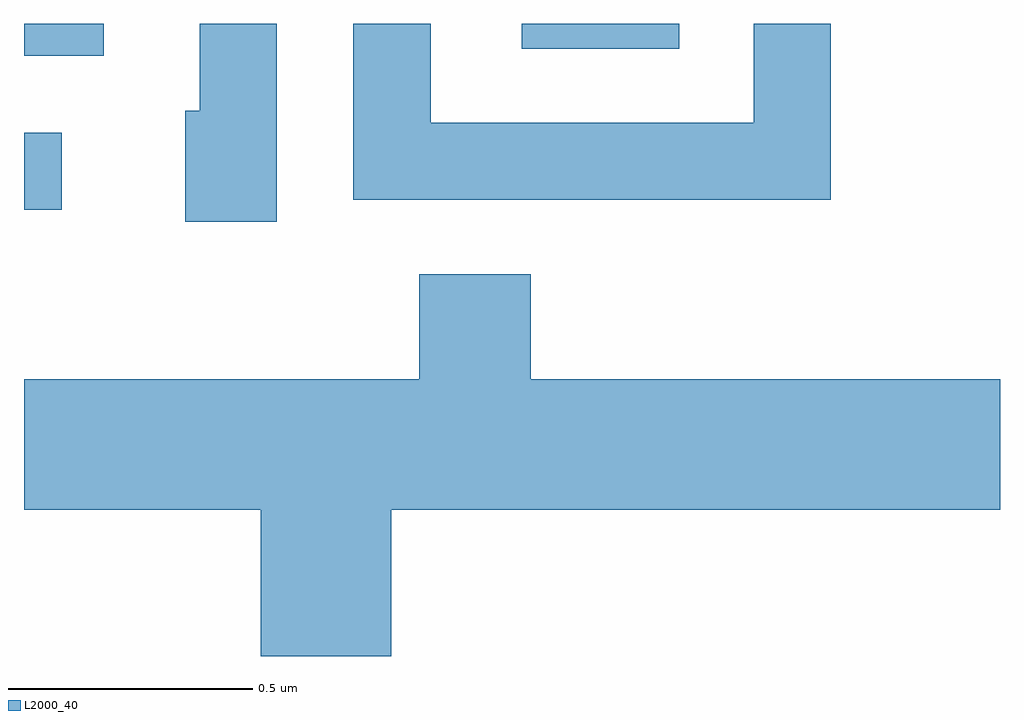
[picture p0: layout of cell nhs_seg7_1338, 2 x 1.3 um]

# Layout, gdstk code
import gdstk
lib = gdstk.Library(unit=1e-6, precision=1e-09)
def R(c, l, rs):  # rectangles x0, y0, x1, y1
    for r in rs: c.add(gdstk.rectangle(r[:2], r[2:], *l))
def P(c, l, *ps):  # polygons
    for p in ps: c.add(gdstk.Polygon(p, *l))
L2000_40 = (2000, 40)

nhs_seg7_1338 = lib.new_cell('nhs_seg7_1338')
R(nhs_seg7_1338, L2000_40, [(194.611,1774.871,194.688,1775.029), (194.611,1775.186,194.774,1775.252), (195.631,1775.201,195.954,1775.252)])
P(nhs_seg7_1338, L2000_40, [(195.129,1775.252),(194.971,1775.252),(194.971,1775.074),(194.941,1775.074),(194.941,1774.846),(195.129,1774.846)],
  [(196.264,1775.252),(196.106,1775.252),(196.106,1775.049),(195.444,1775.049),(195.444,1775.252),(195.286,1775.252),(195.286,1774.891),(196.264,1774.891)],
  [(195.364,1774.256),(196.611,1774.256),(196.611,1774.524),(195.649,1774.524),(195.649,1774.739),(195.421,1774.739),(195.421,1774.524),(194.611,1774.524),(194.611,1774.256),(195.096,1774.256),(195.096,1773.956),(195.364,1773.956)])

lib.write_gds('nhs_seg7_1338.gds')
